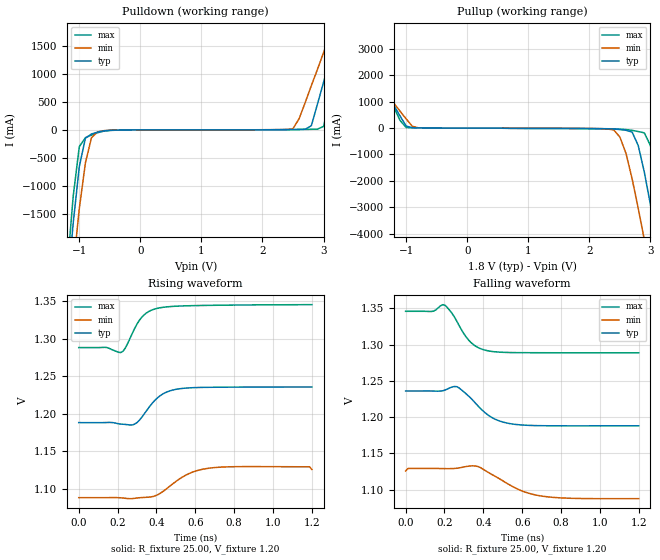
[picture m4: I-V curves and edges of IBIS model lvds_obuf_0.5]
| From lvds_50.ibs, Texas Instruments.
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|   Model lvds_obuf_0.5
[Model]   lvds_obuf_0.5
Model_type   Output
Polarity   Non-Inverting
Vmeas =   1.2000V
C_comp   4.00pF   4.00pF   4.00pF
[Temperature Range]   25.00   0.12k   -40.00
[Voltage Range]   1.80V   1.65V   1.95V
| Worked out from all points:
|   slope of the pulldown table from 0 to 0.27 V, typ, clamps not added: 573 ohm
|   slope of the pullup table from 0 to 0.27 V, typ, clamps not added: 20 kohm
[Pulldown]
| voltage   I(typ)   I(min)   I(max)
-1.8V     -11.13A    -11.46A    -11.46A
-1.2V     -2.91A     -3.63A     -2.51A
-1.1V     -1.67A     -2.47A     -1.19A
-1V       -660mA     -1.41A     -300mA
-900mV    -150mA     -590mA     -140mA
-700mV    -41.37mA   -36.93mA   -51.54mA
2.5V      6.34mA     21.15mA    4.38mA
2.8V      73.93mA    790mA      10.08mA
3V        850mA      1.38A      61.29mA
3.3V      2.03A      2.34A      1.54A
3.4V      2.43A      2.86A      2.04A
3.6V      3.25A      7.06A      3.06A
[Pullup]
| voltage   I(typ)   I(min)   I(max)
-1.8V     3.24A      3.32A      3.82A
-1.6V     2.42A      2.15A      2.8A
-1V       77.02mA    350mA      21.31mA
2.4V      -34.73mA   -71.98mA   -31.07mA
2.5V      -54.54mA   -340mA     -37.62mA
2.7V      -150mA     -1.92A     -86.2mA
2.9V      -1.67A     -4.23A     -180mA
3V        -2.9A      -5.46A     -660mA
3.1V      -4.22A     -6.71A     -1.82A
3.2V      -5.57A     -7.98A     -3.21A
3.3V      -6.94A     -9.28A     -4.67A
3.6V      -11.15A    -15.09A    -9.18A
[Ramp]
| variable   typ   min   max
dV/dt_r   0.16/0.10n   0.10/0.13n   0.23/93.16p
dV/dt_f   16.33m/66.34p   13.01m/0.11n   19.78m/41.12p
R_load = 25.00
[Rising Waveform]
R_fixture = 25.00
V_fixture = 1.20
V_fixture_min = 1.10
V_fixture_max = 1.30
| time   V(typ)   V(min)   V(max)
0s        1.188V     1.088V     1.288V
144ps     1.189V     1.088V     1.289V
216ps     1.186V     1.088V     1.282V
240ps     1.186V     1.088V     1.288V
276ps     1.185V     1.087V     1.307V
324ps     1.195V     1.089V     1.329V
420ps     1.224V     1.094V     1.341V
552ps     1.234V     1.119V     1.344V
660ps     1.235V     1.127V     1.345V
1.2ns     1.236V     1.126V     1.346V
[Falling Waveform]
R_fixture = 25.00
V_fixture = 1.20
V_fixture_min = 1.10
V_fixture_max = 1.30
| time   V(typ)   V(min)   V(max)
0s        1.236V     1.126V     1.346V
12ps      1.236V     1.129V     1.346V
132ps     1.236V     1.129V     1.346V
204ps     1.238V     1.129V     1.354V
264ps     1.242V     1.13V      1.332V
336ps     1.226V     1.133V     1.303V
432ps     1.202V     1.123V     1.291V
528ps     1.192V     1.108V     1.289V
684ps     1.188V     1.092V     1.289V
1.2ns     1.188V     1.088V     1.289V
